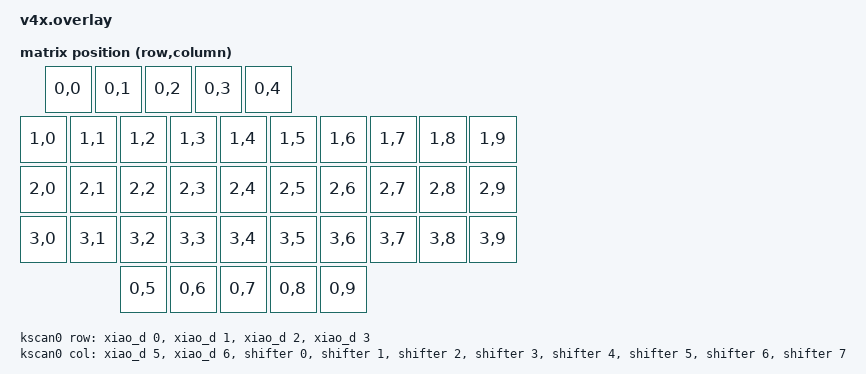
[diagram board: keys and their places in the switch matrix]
#include <dt-bindings/zmk/matrix_transform.h>
#include <physical_layouts.dtsi>

&xiao_spi {
	status = "okay";
	cs-gpios = <&xiao_d 7 GPIO_ACTIVE_LOW>;
	shifter: 595@0 {
		compatible = "zmk,gpio-595";
		status = "okay";
		gpio-controller;
		spi-max-frequency = <200000>;
		reg = <0>;
		#gpio-cells = <2>;
		ngpios = <8>;
	};
};

/ {
	chosen {
		zmk,kscan = &kscan0;
		zmk,matrix_transform = &default_transform;
	};

	default_layout: default_layout {
		compatible = "zmk,physical-layout";
		display-name "Default Layout";
		transform = <&default_transform>;
		keys  //                     w   h    x    y     rot    rx    ry
			= <&key_physical_attrs 100 100   50    0       0     0     0>
			, <&key_physical_attrs 100 100  150    0       0     0     0>
			, <&key_physical_attrs 100 100  250    0       0     0     0>
			, <&key_physical_attrs 100 100  350    0       0     0     0>
			, <&key_physical_attrs 100 100  450    0       0     0     0>
			, <&key_physical_attrs 100 100    0  100       0     0     0>
			, <&key_physical_attrs 100 100  100  100       0     0     0>
			, <&key_physical_attrs 100 100  200  100       0     0     0>
			, <&key_physical_attrs 100 100  300  100       0     0     0>
			, <&key_physical_attrs 100 100  400  100       0     0     0>
			, <&key_physical_attrs 100 100  500  100       0     0     0>
			, <&key_physical_attrs 100 100  600  100       0     0     0>
			, <&key_physical_attrs 100 100  700  100       0     0     0>
			, <&key_physical_attrs 100 100  800  100       0     0     0>
			, <&key_physical_attrs 100 100  900  100       0     0     0>
			, <&key_physical_attrs 100 100    0  200       0     0     0>
			, <&key_physical_attrs 100 100  100  200       0     0     0>
			, <&key_physical_attrs 100 100  200  200       0     0     0>
			, <&key_physical_attrs 100 100  300  200       0     0     0>
			, <&key_physical_attrs 100 100  400  200       0     0     0>
			, <&key_physical_attrs 100 100  500  200       0     0     0>
			, <&key_physical_attrs 100 100  600  200       0     0     0>
			, <&key_physical_attrs 100 100  700  200       0     0     0>
			, <&key_physical_attrs 100 100  800  200       0     0     0>
			, <&key_physical_attrs 100 100  900  200       0     0     0>
			, <&key_physical_attrs 100 100    0  300       0     0     0>
			, <&key_physical_attrs 100 100  100  300       0     0     0>
			, <&key_physical_attrs 100 100  200  300       0     0     0>
			, <&key_physical_attrs 100 100  300  300       0     0     0>
			, <&key_physical_attrs 100 100  400  300       0     0     0>
			, <&key_physical_attrs 100 100  500  300       0     0     0>
			, <&key_physical_attrs 100 100  600  300       0     0     0>
			, <&key_physical_attrs 100 100  700  300       0     0     0>
			, <&key_physical_attrs 100 100  800  300       0     0     0>
			, <&key_physical_attrs 100 100  900  300       0     0     0>
			, <&key_physical_attrs 100 100  200  400       0     0     0>
			, <&key_physical_attrs 100 100  300  400       0     0     0>
			, <&key_physical_attrs 100 100  400  400       0     0     0>
			, <&key_physical_attrs 100 100  500  400       0     0     0>
			, <&key_physical_attrs 100 100  600  400       0     0     0>
			;
	};

	default_transform: keymap_transform_0 {
		compatible = "zmk,matrix-transform";
		columns = <10>;
		rows = <4>;
	
		map = <
       RC(0,0) RC(0,1) RC(0,2) RC(0,3) RC(0,4)     
    RC(1,0) RC(1,1) RC(1,2) RC(1,3) RC(1,4) RC(1,5) RC(1,6) RC(1,7) RC(1,8) RC(1,9)
    RC(2,0) RC(2,1) RC(2,2) RC(2,3) RC(2,4) RC(2,5) RC(2,6) RC(2,7) RC(2,8) RC(2,9)
    RC(3,0) RC(3,1) RC(3,2) RC(3,3) RC(3,4) RC(3,5) RC(3,6) RC(3,7) RC(3,8) RC(3,9)
                    RC(0,5) RC(0,6) RC(0,7) RC(0,8) RC(0,9)
		>;
	};

	kscan0: kscan_0 {
		compatible = "zmk,kscan-gpio-matrix";
		diode-direction = "col2row";
		
		col-gpios
			= <&xiao_d 5 GPIO_ACTIVE_HIGH>
			, <&xiao_d 6 GPIO_ACTIVE_HIGH>
			, <&shifter 0 GPIO_ACTIVE_HIGH>
			, <&shifter 1 GPIO_ACTIVE_HIGH>
			, <&shifter 2 GPIO_ACTIVE_HIGH>
			, <&shifter 3 GPIO_ACTIVE_HIGH>
			, <&shifter 4 GPIO_ACTIVE_HIGH>
			, <&shifter 5 GPIO_ACTIVE_HIGH>
			, <&shifter 6 GPIO_ACTIVE_HIGH>
			, <&shifter 7 GPIO_ACTIVE_HIGH>
			;
		
		row-gpios
			= <&xiao_d 0 (GPIO_ACTIVE_HIGH | GPIO_PULL_DOWN)>
			, <&xiao_d 1 (GPIO_ACTIVE_HIGH | GPIO_PULL_DOWN)>
			, <&xiao_d 2 (GPIO_ACTIVE_HIGH | GPIO_PULL_DOWN)>
			, <&xiao_d 3 (GPIO_ACTIVE_HIGH | GPIO_PULL_DOWN)>
			;
	};
};
